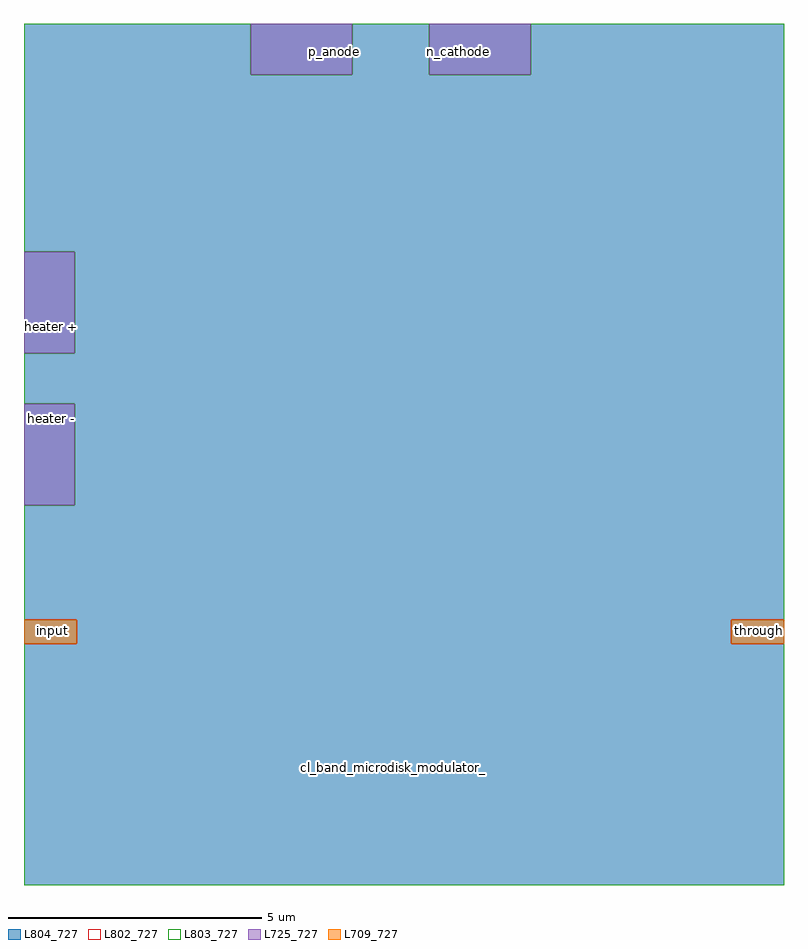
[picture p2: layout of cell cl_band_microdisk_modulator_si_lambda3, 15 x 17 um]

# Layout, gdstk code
import gdstk
lib = gdstk.Library(unit=1e-6, precision=1e-09)
def R(c, l, rs):  # rectangles x0, y0, x1, y1
    for r in rs: c.add(gdstk.rectangle(r[:2], r[2:], *l))
def P(c, l, *ps):  # polygons
    for p in ps: c.add(gdstk.Polygon(p, *l))
L709_727 = (709, 727)
L725_727 = (725, 727)
L802_727 = (802, 727)
L803_727 = (803, 727)
L804_727 = (804, 727)

cl_band_microdisk_modula = lib.new_cell('cl_band_microdisk_modulator_si_lambda3')
R(cl_band_microdisk_modula, L709_727, [(0,-0.24,1.04,0.24), (13.96,-0.24,15,0.24)])
R(cl_band_microdisk_modula, L725_727, [(0,2.5,1,4.5), (0,5.5,1,7.5), (4.48,11,6.48,12), (8,11,10,12)])
P(cl_band_microdisk_modula, L802_727, [(0,-5),(0,-0.24),(1.04,-0.24),(1.04,0.24),(0,0.24),(0,12),(15,12),(15,0.24),(13.96,0.24),(13.96,-0.24),(15,-0.24),(15,-5)])
P(cl_band_microdisk_modula, L803_727, [(0,-5),(0,2.5),(1,2.5),(1,4.5),(0,4.5),(0,5.5),(1,5.5),(1,7.5),(0,7.5),(0,12),(4.48,12),(4.48,11),(6.48,11),(6.48,12),(8,12),(8,11),(10,11),(10,12),(15,12),(15,-5)])
R(cl_band_microdisk_modula, L804_727, [(0,-5,15,12), (1,-0.3,14,0.3)])
P(cl_band_microdisk_modula, L804_727, [(7.5,1.5),(7.5,5.5),(9.5,2.036)],
  [(9.5,2.036),(7.5,5.5),(10.964,3.5)],
  [(10.964,3.5),(7.5,5.5),(11.5,5.5)],
  [(7.5,5.5),(10.964,7.5),(11.5,5.5)],
  [(7.5,5.5),(9.5,8.964),(10.964,7.5)],
  [(7.5,5.5),(7.5,9.5),(9.5,8.964)],
  [(7.5,5.5),(5.5,8.964),(7.5,9.5)],
  [(7.5,5.5),(4.036,7.5),(5.5,8.964)],
  [(3.5,5.5),(4.036,7.5),(7.5,5.5)],
  [(4.036,3.5),(3.5,5.5),(7.5,5.5)],
  [(5.5,2.036),(4.036,3.5),(7.5,5.5)],
  [(7.5,1.5),(5.5,2.036),(7.5,5.5)])
cl_band_microdisk_modula.add(gdstk.Label('cl_band_microdisk_modulator_si_lambda3', (7.294,-2.68), layer=804, texttype=727))
cl_band_microdisk_modula.add(gdstk.Label('input', (0.558,0.036), layer=709, texttype=728))
cl_band_microdisk_modula.add(gdstk.Label('through', (14.507,0.036), layer=709, texttype=728))
cl_band_microdisk_modula.add(gdstk.Label('heater +', (0.55,6.03), layer=725, texttype=728))
cl_band_microdisk_modula.add(gdstk.Label('p_anode', (6.124,11.463), layer=725, texttype=728))
cl_band_microdisk_modula.add(gdstk.Label('n_cathode', (8.58,11.463), layer=725, texttype=728))
cl_band_microdisk_modula.add(gdstk.Label('heater -', (0.55,4.204), layer=725, texttype=728))

lib.write_gds('cl_band_microdisk_modulator_si_lambda3.gds')
